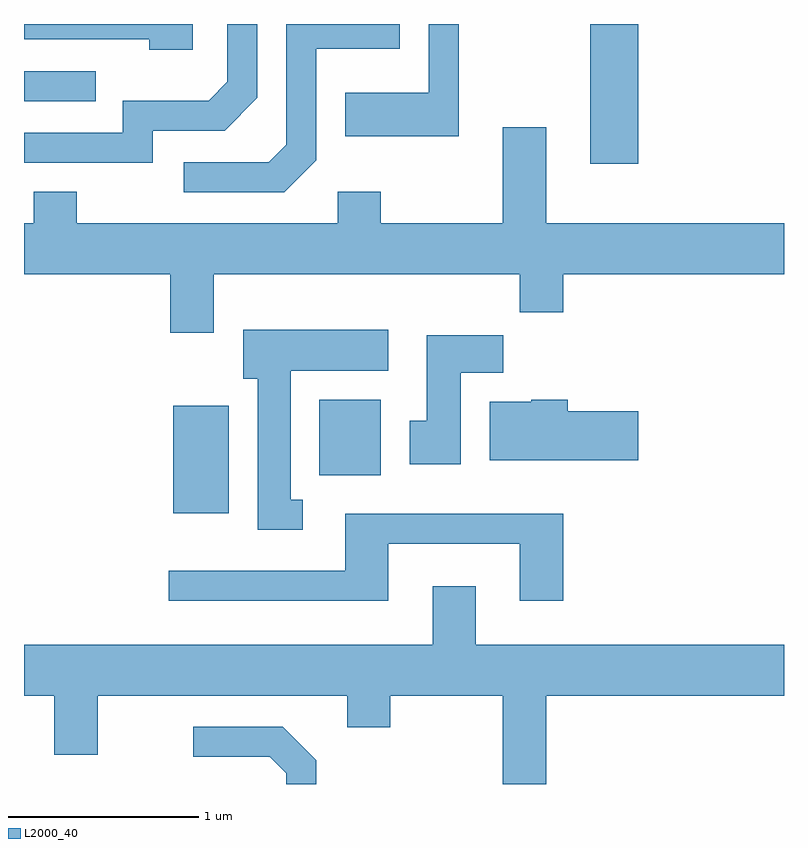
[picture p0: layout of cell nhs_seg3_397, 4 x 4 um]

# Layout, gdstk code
import gdstk
lib = gdstk.Library(unit=1e-6, precision=1e-09)
def R(c, l, rs):  # rectangles x0, y0, x1, y1
    for r in rs: c.add(gdstk.rectangle(r[:2], r[2:], *l))
def P(c, l, *ps):  # polygons
    for p in ps: c.add(gdstk.Polygon(p, *l))
L2000_40 = (2000, 40)

nhs_seg3_397 = lib.new_cell('nhs_seg3_397')
R(nhs_seg3_397, L2000_40, [(196.396,1231.316,196.689,1231.884), (197.166,1231.516,197.489,1231.914), (198.591,1233.156,198.844,1233.892), (195.611,1233.486,195.988,1233.644)])
P(nhs_seg3_397, L2000_40, [(197.149,1233.174),(197.149,1233.761),(197.589,1233.761),(197.589,1233.892),(196.991,1233.892),(196.991,1233.257),(196.899,1233.164),(196.453,1233.164),(196.453,1233.006),(196.982,1233.006)],
  [(196.499,1233.892),(195.611,1233.892),(195.611,1233.811),(196.271,1233.811),(196.271,1233.756),(196.499,1233.756)],
  [(196.289,1233.331),(196.667,1233.331),(196.839,1233.504),(196.839,1233.892),(196.681,1233.892),(196.681,1233.587),(196.584,1233.489),(196.131,1233.489),(196.131,1233.319),(195.611,1233.319),(195.611,1233.161),(196.289,1233.161)],
  [(197.899,1233.892),(197.741,1233.892),(197.741,1233.529),(197.301,1233.529),(197.301,1233.301),(197.899,1233.301)],
  [(196.609,1232.576),(198.221,1232.576),(198.221,1232.376),(198.449,1232.376),(198.449,1232.576),(199.611,1232.576),(199.611,1232.844),(198.359,1232.844),(198.359,1233.349),(198.131,1233.349),(198.131,1232.844),(197.489,1232.844),(197.489,1233.009),(197.261,1233.009),(197.261,1232.844),(195.889,1232.844),(195.889,1233.009),(195.661,1233.009),(195.661,1232.844),(195.611,1232.844),(195.611,1232.576),(196.381,1232.576),(196.381,1232.266),(196.609,1232.266)],
  [(197.078,1231.389),(197.014,1231.389),(197.014,1232.066),(197.529,1232.066),(197.529,1232.284),(196.766,1232.284),(196.766,1232.026),(196.841,1232.026),(196.841,1231.231),(197.078,1231.231)],
  [(197.909,1232.056),(198.134,1232.056),(198.134,1232.254),(197.731,1232.254),(197.731,1231.804),(197.641,1231.804),(197.641,1231.576),(197.909,1231.576)],
  [(198.844,1231.854),(198.474,1231.854),(198.474,1231.914),(198.28,1231.914),(198.28,1231.904),(198.061,1231.904),(198.061,1231.596),(198.844,1231.596)],
  [(197.529,1231.156),(198.221,1231.156),(198.221,1230.856),(198.449,1230.856),(198.449,1231.314),(197.301,1231.314),(197.301,1231.014),(196.373,1231.014),(196.373,1230.856),(197.529,1230.856)],
  [(198.359,1230.356),(199.611,1230.356),(199.611,1230.624),(197.989,1230.624),(197.989,1230.934),(197.761,1230.934),(197.761,1230.624),(195.611,1230.624),(195.611,1230.356),(195.771,1230.356),(195.771,1230.046),(195.999,1230.046),(195.999,1230.356),(197.311,1230.356),(197.311,1230.191),(197.539,1230.191),(197.539,1230.356),(198.131,1230.356),(198.131,1229.892),(198.359,1229.892)],
  [(197.149,1230.017),(196.972,1230.194),(196.503,1230.194),(196.503,1230.036),(196.904,1230.036),(196.991,1229.949),(196.991,1229.892),(197.149,1229.892)])

lib.write_gds('nhs_seg3_397.gds')
